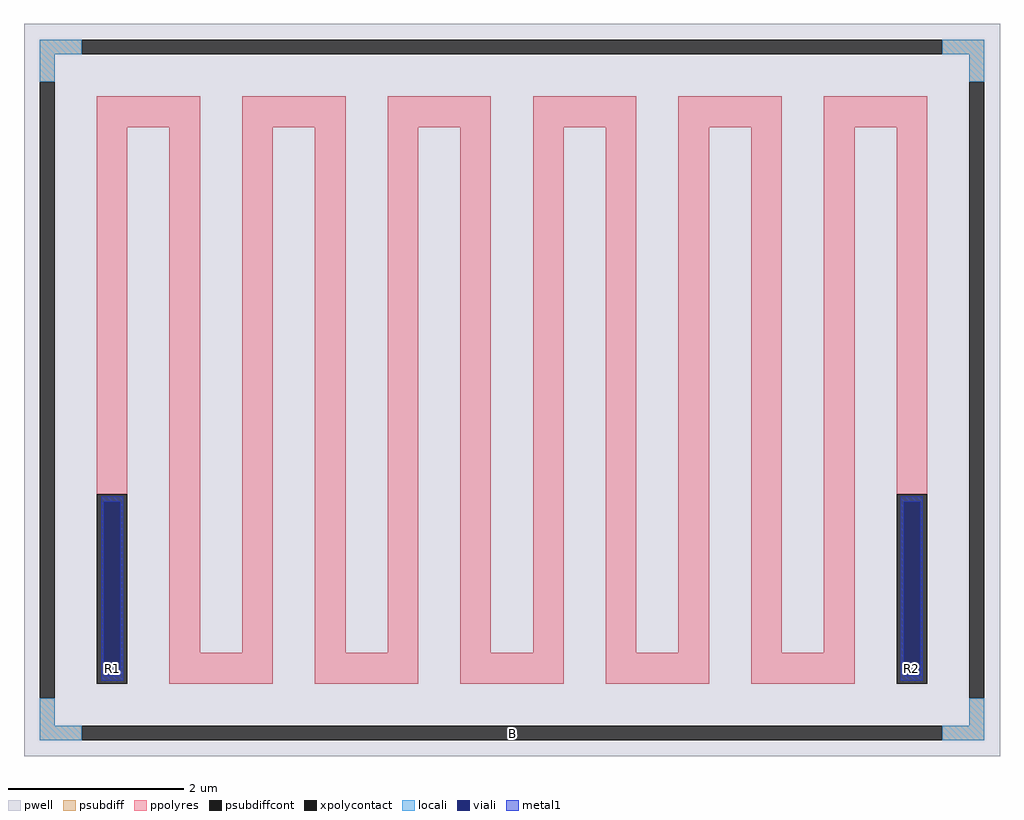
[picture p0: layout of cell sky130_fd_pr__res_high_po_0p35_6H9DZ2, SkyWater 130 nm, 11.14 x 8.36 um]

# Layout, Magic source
magic
tech sky130A
magscale 1 2
<< pwell >>
rect -1114 -836 1114 836
<< psubdiff >>
rect -1078 766 -982 800
rect 982 766 1078 800
rect -1078 704 -1044 766
rect 1044 704 1078 766
rect -1078 -766 -1044 -704
rect 1044 -766 1078 -704
rect -1078 -800 -982 -766
rect 982 -800 1078 -766
<< psubdiffcont >>
rect -982 766 982 800
rect -1078 -704 -1044 704
rect 1044 -704 1078 704
rect -982 -800 982 -766
<< xpolycontact >>
rect -948 -670 -878 -238
rect 878 -670 948 -238
<< ppolyres >>
rect -948 600 -712 670
rect -948 -238 -878 600
rect -782 -600 -712 600
rect -616 600 -380 670
rect -616 -600 -546 600
rect -782 -670 -546 -600
rect -450 -600 -380 600
rect -284 600 -48 670
rect -284 -600 -214 600
rect -450 -670 -214 -600
rect -118 -600 -48 600
rect 48 600 284 670
rect 48 -600 118 600
rect -118 -670 118 -600
rect 214 -600 284 600
rect 380 600 616 670
rect 380 -600 450 600
rect 214 -670 450 -600
rect 546 -600 616 600
rect 712 600 948 670
rect 712 -600 782 600
rect 546 -670 782 -600
rect 878 -238 948 600
<< locali >>
rect -1078 766 -982 800
rect 982 766 1078 800
rect -1078 704 -1044 766
rect 1044 704 1078 766
rect -1078 -766 -1044 -704
rect 1044 -766 1078 -704
rect -1078 -800 -982 -766
rect 982 -800 1078 -766
<< viali >>
rect -932 -652 -894 -255
rect 894 -652 932 -255
<< metal1 >>
rect -938 -255 -888 -243
rect -938 -652 -932 -255
rect -894 -652 -888 -255
rect -938 -664 -888 -652
rect 888 -255 938 -243
rect 888 -652 894 -255
rect 932 -652 938 -255
rect 888 -664 938 -652
<< labels >>
rlabel psubdiffcont 0 -783 0 -783 0 B
port 1 nsew
rlabel xpolycontact -913 -635 -913 -635 0 R1
port 2 nsew
rlabel xpolycontact 913 -635 913 -635 0 R2
port 3 nsew
<< properties >>
string FIXED_BBOX -1061 -783 1061 783
string gencell sky130_fd_pr__res_high_po_0p35
string library sky130
string parameters w 0.35 l 6.7 m 1 nx 12 wmin 0.350 lmin 0.50 class resistor rho 319.8 val 78.093k dummy 0 dw 0.0 term 194.82 sterm 0.0 caplen 0 guard 1 glc 1 grc 1 gtc 1 gbc 1 compatible {sky130_fd_pr__res_high_po_0p35  sky130_fd_pr__res_high_po_0p69 sky130_fd_pr__res_high_po_1p41  sky130_fd_pr__res_high_po_2p85 sky130_fd_pr__res_high_po_5p73} snake 1 full_metal 1 wmax 0.350 vias 1 n_guard 0 hv_guard 0 viagb 0 viagt 0 viagl 0 viagr 0 doports 1
<< end >>
